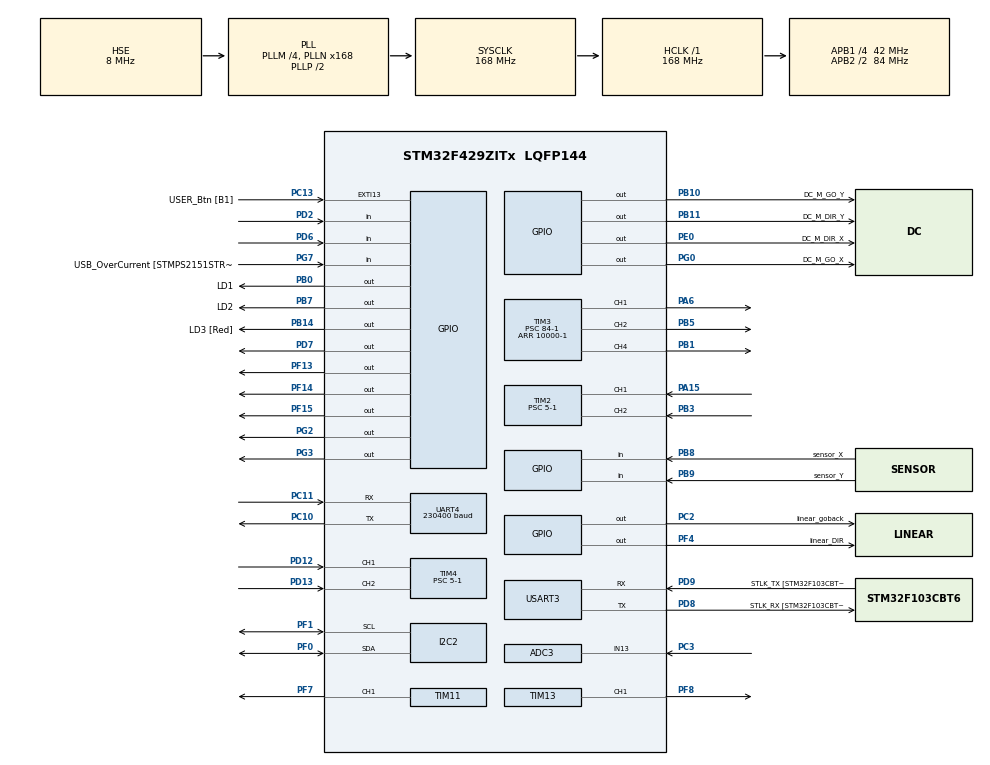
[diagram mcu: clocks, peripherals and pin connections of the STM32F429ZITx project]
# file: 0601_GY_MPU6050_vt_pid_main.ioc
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ADC3.Channel-3\#ChannelRegularConversion=ADC_CHANNEL_13
ADC3.Channel-4\#ChannelRegularConversion=ADC_CHANNEL_10
ADC3.Channel-5\#ChannelRegularConversion=ADC_CHANNEL_11
ADC3.ContinuousConvMode=DISABLE
ADC3.DMAContinuousRequests=ENABLE
ADC3.DiscontinuousConvMode=ENABLE
ADC3.ExternalTrigConv=ADC_EXTERNALTRIGCONV_T8_TRGO
ADC3.NbrOfConversion=3
ADC3.NbrOfConversionFlag=1
ADC3.NbrOfDiscConversion=3
ADC3.Rank-3\#ChannelRegularConversion=1
ADC3.Rank-4\#ChannelRegularConversion=2
ADC3.Rank-5\#ChannelRegularConversion=3
ADC3.Resolution=ADC_RESOLUTION_12B
ADC3.SamplingTime-3\#ChannelRegularConversion=ADC_SAMPLETIME_480CYCLES
ADC3.SamplingTime-4\#ChannelRegularConversion=ADC_SAMPLETIME_480CYCLES
ADC3.SamplingTime-5\#ChannelRegularConversion=ADC_SAMPLETIME_480CYCLES
ADC3.ScanConvMode=ENABLE
Dma.ADC3.0.Direction=DMA_PERIPH_TO_MEMORY
Dma.ADC3.0.FIFOMode=DMA_FIFOMODE_DISABLE
Dma.ADC3.0.Instance=DMA2_Stream1
Dma.ADC3.0.MemDataAlignment=DMA_MDATAALIGN_HALFWORD
Dma.ADC3.0.MemInc=DMA_MINC_ENABLE
Dma.ADC3.0.Mode=DMA_CIRCULAR
Dma.ADC3.0.PeriphDataAlignment=DMA_PDATAALIGN_HALFWORD
Dma.ADC3.0.PeriphInc=DMA_PINC_DISABLE
Dma.ADC3.0.Priority=DMA_PRIORITY_LOW
Dma.Request0=ADC3
Mcu.Family=STM32F4
Mcu.Name=STM32F429ZITx
Mcu.Package=LQFP144
NVIC.ADC_IRQn=true\:14\:0\:true\:false\:true\:true\:true\:true
NVIC.DMA2_Stream1_IRQn=true\:0\:0\:false\:false\:true\:false\:true\:true
NVIC.PriorityGroup=NVIC_PRIORITYGROUP_4
NVIC.TIM1_TRG_COM_TIM11_IRQn=true\:0\:0\:true\:false\:true\:true\:true\:true
NVIC.TIM4_IRQn=true\:0\:0\:true\:false\:true\:true\:true\:true
NVIC.TIM5_IRQn=true\:0\:0\:false\:false\:true\:true\:true\:true
NVIC.TIM6_DAC_IRQn=true\:0\:0\:true\:false\:true\:true\:true\:true
NVIC.TIM7_IRQn=true\:0\:0\:true\:false\:true\:true\:true\:true
NVIC.TIM8_TRG_COM_TIM14_IRQn=true\:0\:0\:true\:false\:true\:true\:true\:true
NVIC.TIM8_UP_TIM13_IRQn=true\:0\:0\:true\:false\:true\:true\:true\:true
NVIC.UART4_IRQn=true\:15\:0\:true\:false\:true\:true\:true\:true
NVIC.USART3_IRQn=true\:15\:0\:true\:false\:true\:true\:true\:true
PA1.GPIO_Speed=GPIO_SPEED_FREQ_VERY_HIGH
PA1.Signal=S_TIM5_CH2
PA11.GPIO_Label=USB_DM
PA11.Signal=USB_OTG_FS_DM
PA12.GPIO_Label=USB_DP
PA12.Signal=USB_OTG_FS_DP
PA13.GPIO_Label=TMS
PA13.Mode=Serial_Wire
PA13.Signal=SYS_JTMS-SWDIO
PA14.GPIO_Label=TCK
PA14.Mode=Serial_Wire
PA14.Signal=SYS_JTCK-SWCLK
PA15.GPIO_Speed=GPIO_SPEED_FREQ_VERY_HIGH
PA15.Signal=S_TIM2_CH1_ETR
PA6.GPIO_Speed=GPIO_SPEED_FREQ_VERY_HIGH
PA6.Signal=S_TIM3_CH1
PA8.GPIO_Label=USB_SOF [TP1]
PA8.Signal=USB_OTG_FS_SOF
PA9.GPIO_Label=USB_VBUS
PA9.Signal=USB_OTG_FS_VBUS
PB0.GPIO_Label=LD1
PB0.Signal=GPIO_Output
PB1.GPIO_Speed=GPIO_SPEED_FREQ_VERY_HIGH
PB1.Signal=S_TIM3_CH4
PB10.GPIO_Label=DC_M_GO_Y
PB10.GPIO_Speed=GPIO_SPEED_FREQ_LOW
PB10.Signal=GPIO_Output
PB11.GPIO_Label=DC_M_DIR_Y
PB11.GPIO_Speed=GPIO_SPEED_FREQ_LOW
PB11.Signal=GPIO_Output
PB14.GPIO_Label=LD3 [Red]
PB14.Signal=GPIO_Output
PB3.GPIO_Speed=GPIO_SPEED_FREQ_VERY_HIGH
PB3.Signal=S_TIM2_CH2
PB5.GPIO_Speed=GPIO_SPEED_FREQ_VERY_HIGH
PB5.Signal=S_TIM3_CH2
PB7.GPIO_Label=LD2
PB7.Signal=GPIO_Output
PB8.GPIO_Label=sensor_X
PB8.Signal=GPIO_Input
PB9.GPIO_Label=sensor_Y
PB9.Signal=GPIO_Input
PC10.Mode=Asynchronous
PC10.Signal=UART4_TX
PC11.Mode=Asynchronous
PC11.Signal=UART4_RX
PC13.GPIO_Label=USER_Btn [B1]
PC13.Signal=GPXTI13
PC14/OSC32_IN.Mode=LSE-External-Oscillator
PC14/OSC32_IN.Signal=RCC_OSC32_IN
PC15/OSC32_OUT.Mode=LSE-External-Oscillator
PC15/OSC32_OUT.Signal=RCC_OSC32_OUT
PC2.GPIO_Label=linear_goback
PC2.Signal=GPIO_Output
PC3.Signal=ADCx_IN13
PC8.Signal=S_TIM3_CH3
PD12.GPIO_Speed=GPIO_SPEED_FREQ_VERY_HIGH
PD12.Signal=S_TIM4_CH1
PD13.GPIO_Speed=GPIO_SPEED_FREQ_VERY_HIGH
PD13.Signal=S_TIM4_CH2
PD2.Signal=GPIO_Input
PD6.Signal=GPIO_Input
PD7.Signal=GPIO_Output
PD8.GPIO_Label=STLK_RX [STM32F103CBT6_PA3]
PD8.Mode=Asynchronous
PD8.Signal=USART3_TX
PD9.GPIO_Label=STLK_TX [STM32F103CBT6_PA2]
PD9.Mode=Asynchronous
PD9.Signal=USART3_RX
PE0.GPIO_Label=DC_M_DIR_X
PE0.GPIO_Speed=GPIO_SPEED_FREQ_LOW
PE0.Signal=GPIO_Output
PF0.Mode=I2C
PF0.Signal=I2C2_SDA
PF1.Mode=I2C
PF1.Signal=I2C2_SCL
PF13.Signal=GPIO_Output
PF14.Signal=GPIO_Output
PF15.Signal=GPIO_Output
PF4.GPIO_Label=linear_DIR
PF4.Signal=GPIO_Output
PF7.GPIO_Speed=GPIO_SPEED_FREQ_VERY_HIGH
PF7.Signal=S_TIM11_CH1
PF8.GPIO_Speed=GPIO_SPEED_FREQ_VERY_HIGH
PF8.Signal=S_TIM13_CH1
PG0.GPIO_Label=DC_M_GO_X
PG0.GPIO_Speed=GPIO_SPEED_FREQ_LOW
PG0.Signal=GPIO_Output
PG2.Signal=GPIO_Output
PG3.Signal=GPIO_Output
PG7.GPIO_Label=USB_OverCurrent [STMPS2151STR_FAULT]
PG7.Signal=GPIO_Input
PH0/OSC_IN.GPIO_Label=MCO [STM32F103CBT6_PA8]
PH0/OSC_IN.Mode=HSE-External-Clock-Source
PH0/OSC_IN.Signal=RCC_OSC_IN
PH1/OSC_OUT.Mode=HSE-External-Clock-Source
PH1/OSC_OUT.Signal=RCC_OSC_OUT
ProjectManager.HeapSize=0x200
ProjectManager.StackSize=0x400
ProjectManager.TargetToolchain=STM32CubeIDE
RCC.48MHZClocksFreq_Value=48000000
RCC.AHBFreq_Value=168000000
RCC.APB1CLKDivider=RCC_HCLK_DIV4
RCC.APB1Freq_Value=42000000
RCC.APB1TimFreq_Value=84000000
RCC.APB2CLKDivider=RCC_HCLK_DIV2
RCC.APB2Freq_Value=84000000
RCC.APB2TimCLKDivider=2
RCC.APB2TimFreq_Value=168000000
RCC.CortexFreq_Value=168000000
RCC.HCLKFreq_Value=168000000
RCC.HSE_VALUE=8000000
RCC.HSI_VALUE=16000000
RCC.PLLM=4
RCC.PLLMUL=RCC_PLL_MUL9
RCC.PLLN=168
RCC.PLLQ=7
RCC.PLLSourceVirtual=RCC_PLLSOURCE_HSE
RCC.PRESCALERUSB=RCC_USBCLKSOURCE_PLL_DIV1_5
RCC.SYSCLKFreq_VALUE=168000000
RCC.SYSCLKSource=RCC_SYSCLKSOURCE_PLLCLK
RCC.SYSCLKSourceVirtual=RCC_SYSCLKSOURCE_PLLCLK
RCC.USBFreq_Value=48000000
RCC.VCOOutputFreq_Value=336000000
SH.ADCx_IN13.0=ADC3_IN13,IN13
SH.S_TIM11_CH1.0=TIM11_CH1,Output Compare1 CH1
SH.S_TIM13_CH1.0=TIM13_CH1,Output Compare1 CH1
SH.S_TIM2_CH1_ETR.0=TIM2_CH1,Encoder_Interface
SH.S_TIM2_CH2.0=TIM2_CH2,Encoder_Interface
SH.S_TIM3_CH1.0=TIM3_CH1,PWM Generation1 CH1
SH.S_TIM3_CH2.0=TIM3_CH2,PWM Generation2 CH2
SH.S_TIM3_CH3.0=TIM3_CH3
SH.S_TIM3_CH4.0=TIM3_CH4,PWM Generation4 CH4
SH.S_TIM4_CH1.0=TIM4_CH1,Encoder_Interface
SH.S_TIM4_CH2.0=TIM4_CH2,Encoder_Interface
SH.S_TIM5_CH2.0=TIM5_CH2
TIM11.AutoReloadPreload=TIM_AUTORELOAD_PRELOAD_ENABLE
TIM11.Channel=TIM_CHANNEL_1
TIM11.OCMode_1=TIM_OCMODE_TOGGLE
TIM11.Period=800-1
TIM11.Prescaler=168-1
TIM11.Pulse=50
TIM12.Prescaler=42-1
TIM13.AutoReloadPreload=TIM_AUTORELOAD_PRELOAD_ENABLE
TIM13.Channel=TIM_CHANNEL_1
TIM13.OC1Preload=ENABLE
TIM13.OCMode_1=TIM_OCMODE_TOGGLE
TIM13.Period=800-1
TIM13.Prescaler=84-1
TIM13.Pulse=130
TIM14.Period=10000-1
TIM14.Prescaler=84-1
TIM2.EncoderMode=TIM_ENCODERMODE_TI12
TIM2.Period=0xffffffff
TIM2.Prescaler=5-1
TIM3.Channel-PWM\ Generation1\ CH1=TIM_CHANNEL_1
TIM3.Channel-PWM\ Generation2\ CH2=TIM_CHANNEL_2
TIM3.Channel-PWM\ Generation4\ CH4=TIM_CHANNEL_4
TIM3.Period=10000-1
TIM3.Prescaler=84-1
TIM3.Pulse-PWM\ Generation1\ CH1=600
TIM3.Pulse-PWM\ Generation2\ CH2=600
TIM3.Pulse-PWM\ Generation4\ CH4=0
TIM4.EncoderMode=TIM_ENCODERMODE_TI12
TIM4.Period=0xFFFF-1
TIM4.Prescaler=5-1
TIM5.Period=10000-1
TIM5.Prescaler=84-1
TIM6.Period=1000-1
TIM6.Prescaler=84-1
TIM7.Period=100-1
TIM7.Prescaler=84-1
TIM8.Channel-Output\ Compare4\ No\ Output=TIM_CHANNEL_4
TIM8.Period=300-1
TIM8.Prescaler=84-1
TIM8.Pulse-Output\ Compare4\ No\ Output=2000
TIM8.TIM_MasterOutputTrigger=TIM_TRGO_UPDATE
UART4.BaudRate=230400
UART4.Parity=PARITY_EVEN
UART4.VirtualMode=Asynchronous
USART3.VirtualMode=VM_ASYNC
VP_TIM11_VS_ClockSourceINT.Mode=Enable_Timer
VP_TIM12_VS_ClockSourceINT.Mode=Internal
VP_TIM13_VS_ClockSourceINT.Mode=Enable_Timer
VP_TIM14_VS_ClockSourceINT.Mode=Enable_Timer
VP_TIM3_VS_ClockSourceINT.Mode=Internal
VP_TIM5_VS_ClockSourceINT.Mode=Internal
VP_TIM6_VS_ClockSourceINT.Mode=Enable_Timer
VP_TIM7_VS_ClockSourceINT.Mode=Enable_Timer
VP_TIM8_VS_ClockSourceINT.Mode=Internal
VP_TIM8_VS_no_output4.Mode=Output Compare4 No Output
board=NUCLEO-F429ZI

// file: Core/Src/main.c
/* USER CODE BEGIN Header */
/**
 ******************************************************************************
 * @file           : main.c
 * @brief          : Main program body
 ******************************************************************************
 * @attention
 *
 * Copyright (c) 2024 STMicroelectronics.
 * All rights reserved.
 *
 * This software is licensed under terms that can be found in the LICENSE file
 * in the root directory of this software component.
 * If no LICENSE file comes with this software, it is provided AS-IS.
 *
 ******************************************************************************
 */
/* USER CODE END Header */
#include "main.h"

/* USER CODE BEGIN Includes */
#include "pid.h"
#include "sensor.h"
#include "step.h"
#include "linear.h"
#include "pp.h"
#include "mpu6050.h"

uint8_t key_value;

uint8_t data;

uint32_t encoder_count_x = 1000000;
uint32_t encoder_count_y = 1000000;
extern uint32_t tim4_encoder_overflow;

uint16_t ADC3_value[3];

extern uint8_t tim7_flag_3;
extern uint8_t tim6_flag;
extern uint8_t tim14_flag;
extern uint8_t tim5_flag;
/* USER CODE END Includes */

ADC_HandleTypeDef hadc3;
DMA_HandleTypeDef hdma_adc3;

I2C_HandleTypeDef hi2c2;

TIM_HandleTypeDef htim2;
TIM_HandleTypeDef htim3;
TIM_HandleTypeDef htim4;
TIM_HandleTypeDef htim5;
TIM_HandleTypeDef htim6;
TIM_HandleTypeDef htim7;
TIM_HandleTypeDef htim8;
TIM_HandleTypeDef htim11;
TIM_HandleTypeDef htim12;
TIM_HandleTypeDef htim13;
TIM_HandleTypeDef htim14;

UART_HandleTypeDef huart4;
UART_HandleTypeDef huart3;

void SystemClock_Config(void);
static void MX_GPIO_Init(void);
static void MX_DMA_Init(void);
static void MX_USART3_UART_Init(void);
static void MX_TIM3_Init(void);
static void MX_TIM14_Init(void);
static void MX_UART4_Init(void);
static void MX_TIM2_Init(void);
static void MX_TIM8_Init(void);
static void MX_TIM6_Init(void);
static void MX_TIM13_Init(void);
static void MX_ADC3_Init(void);
static void MX_TIM12_Init(void);
static void MX_TIM11_Init(void);
static void MX_TIM4_Init(void);
static void MX_TIM7_Init(void);
static void MX_TIM5_Init(void);
static void MX_I2C2_Init(void);

/* USER CODE BEGIN 0 */

extern int pathLength;

cell path[CELL_DOMAIN_MAX];

extern uint32_t save_X_IN;

extern int photo_sensor_flag_y;
extern float maxV;
extern float fallingN;
extern float fallingN_;
extern float raisingN;
extern float staticN;
extern float orderN;
extern uint16_t i_v_t_count;

/* USER CODE END 0 */

int main(void) {

	/* MCU Configuration--------------------------------------------------------*/

	/* Reset of all peripherals, Initializes the Flash interface and the Systick. */
	HAL_Init();

	/* Configure the system clock */
	SystemClock_Config();

	/* Initialize all configured peripherals */
	MX_GPIO_Init();
	MX_DMA_Init();
	MX_USART3_UART_Init();
	MX_TIM3_Init();
	MX_TIM14_Init();
	MX_UART4_Init();
	MX_TIM2_Init();
	MX_TIM8_Init();
	MX_TIM6_Init();
	MX_TIM13_Init();
	MX_ADC3_Init();
	MX_TIM12_Init();
	MX_TIM11_Init();
	MX_TIM4_Init();
	MX_TIM7_Init();
	MX_TIM5_Init();
	MX_I2C2_Init();
	/* USER CODE BEGIN 2 */

	MPU6050_Init();

	HAL_UART_Receive_IT(&huart3, &key_value, 1);
	HAL_UART_Receive_IT(&huart4, &data, 1);

	HAL_ADC_Start_DMA(&hadc3, (uint32_t*) ADC3_value, 3);

	HAL_TIM_Base_Start_IT(&htim6);  //pid
	HAL_TIM_Base_Start_IT(&htim7);  //센서
	HAL_TIM_Base_Start_IT(&htim14);  //RPM
	HAL_TIM_Base_Start_IT(&htim5);  //vt

	HAL_TIM_Encoder_Start(&htim2, TIM_CHANNEL_ALL);

	HAL_TIM_Encoder_Start(&htim4, TIM_CHANNEL_ALL);
	HAL_TIM_Base_Start_IT(&htim4);

	HAL_TIM_Base_Start(&htim12);  //초음파 센서
	HAL_TIM_Base_Start_IT(&htim8);  //ADC 타이머

	HAL_TIM_PWM_Start(&htim3, TIM_CHANNEL_1);
	HAL_TIM_PWM_Start(&htim3, TIM_CHANNEL_2);
	HAL_TIM_PWM_Start(&htim3, TIM_CHANNEL_4);
	setvbuf(stdin, NULL, _IONBF, 0);

	gridInit(IsEmpty);
	setDpp(0, 0, 5, 5); //0,0 에서 1,2로
	readPath(lpp(), path);

	/* USER CODE END 2 */

	/* Infinite loop */
	while (1) {

		/* USER CODE BEGIN 3 */

		encoder_count_x = TIM2->CNT;  //32bit timer
		encoder_count_y = TIM4->CNT + tim4_encoder_overflow; //16bit timer 에서 32비트로

//		printf("%d %d\r\n",save_X_IN,encoder_count_x);

		if (tim6_flag == 1)  //1ms
		{
			distance_sensor();  //거리 센서
			MPU6050_Read_Accel();
												MPU6050_Read_Gyro();
						tim7_flag_3 = 0;
			tim6_flag = 0;
		}

	}
	/* USER CODE END 3 */
}

void SystemClock_Config(void) {
	RCC_OscInitTypeDef RCC_OscInitStruct = { 0 };
	RCC_ClkInitTypeDef RCC_ClkInitStruct = { 0 };

	/** Configure the main internal regulator output voltage
	 */
	__HAL_RCC_PWR_CLK_ENABLE();
	__HAL_PWR_VOLTAGESCALING_CONFIG(PWR_REGULATOR_VOLTAGE_SCALE1);

	/** Initializes the RCC Oscillators according to the specified parameters
	 * in the RCC_OscInitTypeDef structure.
	 */
	RCC_OscInitStruct.OscillatorType = RCC_OSCILLATORTYPE_HSE;
	RCC_OscInitStruct.HSEState = RCC_HSE_BYPASS;
	RCC_OscInitStruct.PLL.PLLState = RCC_PLL_ON;
	RCC_OscInitStruct.PLL.PLLSource = RCC_PLLSOURCE_HSE;
	RCC_OscInitStruct.PLL.PLLM = 4;
	RCC_OscInitStruct.PLL.PLLN = 168;
	RCC_OscInitStruct.PLL.PLLP = RCC_PLLP_DIV2;
	RCC_OscInitStruct.PLL.PLLQ = 7;
	if (HAL_RCC_OscConfig(&RCC_OscInitStruct) != HAL_OK) {
		Error_Handler();
	}

	/** Initializes the CPU, AHB and APB buses clocks
	 */
	RCC_ClkInitStruct.ClockType = RCC_CLOCKTYPE_HCLK | RCC_CLOCKTYPE_SYSCLK
			| RCC_CLOCKTYPE_PCLK1 | RCC_CLOCKTYPE_PCLK2;
	RCC_ClkInitStruct.SYSCLKSource = RCC_SYSCLKSOURCE_PLLCLK;
	RCC_ClkInitStruct.AHBCLKDivider = RCC_SYSCLK_DIV1;
	RCC_ClkInitStruct.APB1CLKDivider = RCC_HCLK_DIV4;
	RCC_ClkInitStruct.APB2CLKDivider = RCC_HCLK_DIV2;

	if (HAL_RCC_ClockConfig(&RCC_ClkInitStruct, FLASH_LATENCY_5) != HAL_OK) {
		Error_Handler();
	}
}

static void MX_ADC3_Init(void) {

	ADC_ChannelConfTypeDef sConfig = { 0 };

	/** Configure the global features of the ADC (Clock, Resolution, Data Alignment and number of conversion)
	 */
	hadc3.Instance = ADC3;
	hadc3.Init.ClockPrescaler = ADC_CLOCK_SYNC_PCLK_DIV4;
	hadc3.Init.Resolution = ADC_RESOLUTION_12B;
	hadc3.Init.ScanConvMode = ENABLE;
	hadc3.Init.ContinuousConvMode = DISABLE;
	hadc3.Init.DiscontinuousConvMode = ENABLE;
	hadc3.Init.NbrOfDiscConversion = 3;
	hadc3.Init.ExternalTrigConvEdge = ADC_EXTERNALTRIGCONVEDGE_RISING;
	hadc3.Init.ExternalTrigConv = ADC_EXTERNALTRIGCONV_T8_TRGO;
	hadc3.Init.DataAlign = ADC_DATAALIGN_RIGHT;
	hadc3.Init.NbrOfConversion = 3;
	hadc3.Init.DMAContinuousRequests = ENABLE;
	hadc3.Init.EOCSelection = ADC_EOC_SINGLE_CONV;
	if (HAL_ADC_Init(&hadc3) != HAL_OK) {
		Error_Handler();
	}

	/** Configure for the selected ADC regular channel its corresponding rank in the sequencer and its sample time.
	 */
	sConfig.Channel = ADC_CHANNEL_13;
	sConfig.Rank = 1;
	sConfig.SamplingTime = ADC_SAMPLETIME_480CYCLES;
	if (HAL_ADC_ConfigChannel(&hadc3, &sConfig) != HAL_OK) {
		Error_Handler();
	}

	/** Configure for the selected ADC regular channel its corresponding rank in the sequencer and its sample time.
	 */
	sConfig.Channel = ADC_CHANNEL_10;
	sConfig.Rank = 2;
	if (HAL_ADC_ConfigChannel(&hadc3, &sConfig) != HAL_OK) {
		Error_Handler();
	}

	/** Configure for the selected ADC regular channel its corresponding rank in the sequencer and its sample time.
	 */
	sConfig.Channel = ADC_CHANNEL_11;
	sConfig.Rank = 3;
	if (HAL_ADC_ConfigChannel(&hadc3, &sConfig) != HAL_OK) {
		Error_Handler();
	}

}

static void MX_I2C2_Init(void) {

	hi2c2.Instance = I2C2;
	hi2c2.Init.ClockSpeed = 100000;
	hi2c2.Init.DutyCycle = I2C_DUTYCYCLE_2;
	hi2c2.Init.OwnAddress1 = 0;
	hi2c2.Init.AddressingMode = I2C_ADDRESSINGMODE_7BIT;
	hi2c2.Init.DualAddressMode = I2C_DUALADDRESS_DISABLE;
	hi2c2.Init.OwnAddress2 = 0;
	hi2c2.Init.GeneralCallMode = I2C_GENERALCALL_DISABLE;
	hi2c2.Init.NoStretchMode = I2C_NOSTRETCH_DISABLE;
	if (HAL_I2C_Init(&hi2c2) != HAL_OK) {
		Error_Handler();
	}

	/** Configure Analogue filter
	 */
	if (HAL_I2CEx_ConfigAnalogFilter(&hi2c2, I2C_ANALOGFILTER_ENABLE)
			!= HAL_OK) {
		Error_Handler();
	}

	/** Configure Digital filter
	 */
	if (HAL_I2CEx_ConfigDigitalFilter(&hi2c2, 0) != HAL_OK) {
		Error_Handler();
	}

}

static void MX_TIM2_Init(void) {

	TIM_Encoder_InitTypeDef sConfig = { 0 };
	TIM_MasterConfigTypeDef sMasterConfig = { 0 };

	htim2.Instance = TIM2;
	htim2.Init.Prescaler = 5 - 1;
	htim2.Init.CounterMode = TIM_COUNTERMODE_UP;
	htim2.Init.Period = 0xffffffff;
	htim2.Init.ClockDivision = TIM_CLOCKDIVISION_DIV1;
	htim2.Init.AutoReloadPreload = TIM_AUTORELOAD_PRELOAD_DISABLE;
	sConfig.EncoderMode = TIM_ENCODERMODE_TI12;
	sConfig.IC1Polarity = TIM_ICPOLARITY_RISING;
	sConfig.IC1Selection = TIM_ICSELECTION_DIRECTTI;
	sConfig.IC1Prescaler = TIM_ICPSC_DIV1;
	sConfig.IC1Filter = 0;
	sConfig.IC2Polarity = TIM_ICPOLARITY_RISING;
	sConfig.IC2Selection = TIM_ICSELECTION_DIRECTTI;
	sConfig.IC2Prescaler = TIM_ICPSC_DIV1;
	sConfig.IC2Filter = 0;
	if (HAL_TIM_Encoder_Init(&htim2, &sConfig) != HAL_OK) {
		Error_Handler();
	}
	sMasterConfig.MasterOutputTrigger = TIM_TRGO_RESET;
	sMasterConfig.MasterSlaveMode = TIM_MASTERSLAVEMODE_DISABLE;
	if (HAL_TIMEx_MasterConfigSynchronization(&htim2, &sMasterConfig)
			!= HAL_OK) {
		Error_Handler();
	}

}

static void MX_TIM3_Init(void) {

	TIM_ClockConfigTypeDef sClockSourceConfig = { 0 };
	TIM_MasterConfigTypeDef sMasterConfig = { 0 };
	TIM_OC_InitTypeDef sConfigOC = { 0 };

	htim3.Instance = TIM3;
	htim3.Init.Prescaler = 84 - 1;
	htim3.Init.CounterMode = TIM_COUNTERMODE_UP;
	htim3.Init.Period = 10000 - 1;
	htim3.Init.ClockDivision = TIM_CLOCKDIVISION_DIV1;
	htim3.Init.AutoReloadPreload = TIM_AUTORELOAD_PRELOAD_DISABLE;
	if (HAL_TIM_Base_Init(&htim3) != HAL_OK) {
		Error_Handler();
	}
	sClockSourceConfig.ClockSource = TIM_CLOCKSOURCE_INTERNAL;
	if (HAL_TIM_ConfigClockSource(&htim3, &sClockSourceConfig) != HAL_OK) {
		Error_Handler();
	}
	if (HAL_TIM_PWM_Init(&htim3) != HAL_OK) {
		Error_Handler();
	}
	sMasterConfig.MasterOutputTrigger = TIM_TRGO_RESET;
	sMasterConfig.MasterSlaveMode = TIM_MASTERSLAVEMODE_DISABLE;
	if (HAL_TIMEx_MasterConfigSynchronization(&htim3, &sMasterConfig)
			!= HAL_OK) {
		Error_Handler();
	}
	sConfigOC.OCMode = TIM_OCMODE_PWM1;
	sConfigOC.Pulse = 600;
	sConfigOC.OCPolarity = TIM_OCPOLARITY_HIGH;
	sConfigOC.OCFastMode = TIM_OCFAST_DISABLE;
	if (HAL_TIM_PWM_ConfigChannel(&htim3, &sConfigOC, TIM_CHANNEL_1)
			!= HAL_OK) {
		Error_Handler();
	}
	if (HAL_TIM_PWM_ConfigChannel(&htim3, &sConfigOC, TIM_CHANNEL_2)
			!= HAL_OK) {
		Error_Handler();
	}
	sConfigOC.Pulse = 0;
	if (HAL_TIM_PWM_ConfigChannel(&htim3, &sConfigOC, TIM_CHANNEL_4)
			!= HAL_OK) {
		Error_Handler();
	}
	HAL_TIM_MspPostInit(&htim3);

}

static void MX_TIM4_Init(void) {

	TIM_Encoder_InitTypeDef sConfig = { 0 };
	TIM_MasterConfigTypeDef sMasterConfig = { 0 };

	htim4.Instance = TIM4;
	htim4.Init.Prescaler = 5 - 1;
	htim4.Init.CounterMode = TIM_COUNTERMODE_UP;
	htim4.Init.Period = 0xFFFF - 1;
	htim4.Init.ClockDivision = TIM_CLOCKDIVISION_DIV1;
	htim4.Init.AutoReloadPreload = TIM_AUTORELOAD_PRELOAD_DISABLE;
	sConfig.EncoderMode = TIM_ENCODERMODE_TI12;
	sConfig.IC1Polarity = TIM_ICPOLARITY_RISING;
	sConfig.IC1Selection = TIM_ICSELECTION_DIRECTTI;
	sConfig.IC1Prescaler = TIM_ICPSC_DIV1;
	sConfig.IC1Filter = 0;
	sConfig.IC2Polarity = TIM_ICPOLARITY_RISING;
	sConfig.IC2Selection = TIM_ICSELECTION_DIRECTTI;
	sConfig.IC2Prescaler = TIM_ICPSC_DIV1;
	sConfig.IC2Filter = 0;
	if (HAL_TIM_Encoder_Init(&htim4, &sConfig) != HAL_OK) {
		Error_Handler();
	}
	sMasterConfig.MasterOutputTrigger = TIM_TRGO_RESET;
	sMasterConfig.MasterSlaveMode = TIM_MASTERSLAVEMODE_DISABLE;
	if (HAL_TIMEx_MasterConfigSynchronization(&htim4, &sMasterConfig)
			!= HAL_OK) {
		Error_Handler();
	}

}

static void MX_TIM5_Init(void) {

	TIM_ClockConfigTypeDef sClockSourceConfig = { 0 };
	TIM_MasterConfigTypeDef sMasterConfig = { 0 };

	htim5.Instance = TIM5;
	htim5.Init.Prescaler = 84 - 1;
	htim5.Init.CounterMode = TIM_COUNTERMODE_UP;
	htim5.Init.Period = 10000 - 1;
	htim5.Init.ClockDivision = TIM_CLOCKDIVISION_DIV1;
	htim5.Init.AutoReloadPreload = TIM_AUTORELOAD_PRELOAD_DISABLE;
	if (HAL_TIM_Base_Init(&htim5) != HAL_OK) {
		Error_Handler();
	}
	sClockSourceConfig.ClockSource = TIM_CLOCKSOURCE_INTERNAL;
	if (HAL_TIM_ConfigClockSource(&htim5, &sClockSourceConfig) != HAL_OK) {
		Error_Handler();
	}
	sMasterConfig.MasterOutputTrigger = TIM_TRGO_RESET;
	sMasterConfig.MasterSlaveMode = TIM_MASTERSLAVEMODE_DISABLE;
	if (HAL_TIMEx_MasterConfigSynchronization(&htim5, &sMasterConfig)
			!= HAL_OK) {
		Error_Handler();
	}

}

static void MX_TIM6_Init(void) {

	/* USER CODE BEGIN TIM6_Init 0 */
	//0.001s = 1ms
	//PID 샘플링 주기
	/* USER CODE END TIM6_Init 0 */

	TIM_MasterConfigTypeDef sMasterConfig = { 0 };

	htim6.Instance = TIM6;
	htim6.Init.Prescaler = 84 - 1;
	htim6.Init.CounterMode = TIM_COUNTERMODE_UP;
	htim6.Init.Period = 1000 - 1;
	htim6.Init.AutoReloadPreload = TIM_AUTORELOAD_PRELOAD_DISABLE;
	if (HAL_TIM_Base_Init(&htim6) != HAL_OK) {
		Error_Handler();
	}
	sMasterConfig.MasterOutputTrigger = TIM_TRGO_RESET;
	sMasterConfig.MasterSlaveMode = TIM_MASTERSLAVEMODE_DISABLE;
	if (HAL_TIMEx_MasterConfigSynchronization(&htim6, &sMasterConfig)
			!= HAL_OK) {
		Error_Handler();
	}

}

static void MX_TIM7_Init(void) {

	TIM_MasterConfigTypeDef sMasterConfig = { 0 };

	htim7.Instance = TIM7;
	htim7.Init.Prescaler = 84 - 1;
	htim7.Init.CounterMode = TIM_COUNTERMODE_UP;
	htim7.Init.Period = 100 - 1;
	htim7.Init.AutoReloadPreload = TIM_AUTORELOAD_PRELOAD_DISABLE;
	if (HAL_TIM_Base_Init(&htim7) != HAL_OK) {
		Error_Handler();
	}
	sMasterConfig.MasterOutputTrigger = TIM_TRGO_RESET;
	sMasterConfig.MasterSlaveMode = TIM_MASTERSLAVEMODE_DISABLE;
	if (HAL_TIMEx_MasterConfigSynchronization(&htim7, &sMasterConfig)
			!= HAL_OK) {
		Error_Handler();
	}

}

static void MX_TIM8_Init(void) {

	/* USER CODE BEGIN TIM8_Init 0 */
	//ADC 측정 타이머 , 나중엔 필요 x
	/* USER CODE END TIM8_Init 0 */

	TIM_ClockConfigTypeDef sClockSourceConfig = { 0 };
	TIM_MasterConfigTypeDef sMasterConfig = { 0 };
	TIM_OC_InitTypeDef sConfigOC = { 0 };
	TIM_BreakDeadTimeConfigTypeDef sBreakDeadTimeConfig = { 0 };

	htim8.Instance = TIM8;
	htim8.Init.Prescaler = 84 - 1;
	htim8.Init.CounterMode = TIM_COUNTERMODE_UP;
	htim8.Init.Period = 300 - 1;
	htim8.Init.ClockDivision = TIM_CLOCKDIVISION_DIV1;
	htim8.Init.RepetitionCounter = 0;
	htim8.Init.AutoReloadPreload = TIM_AUTORELOAD_PRELOAD_DISABLE;
	if (HAL_TIM_Base_Init(&htim8) != HAL_OK) {
		Error_Handler();
	}
	sClockSourceConfig.ClockSource = TIM_CLOCKSOURCE_INTERNAL;
	if (HAL_TIM_ConfigClockSource(&htim8, &sClockSourceConfig) != HAL_OK) {
		Error_Handler();
	}
	if (HAL_TIM_OC_Init(&htim8) != HAL_OK) {
		Error_Handler();
	}
	sMasterConfig.MasterOutputTrigger = TIM_TRGO_UPDATE;
	sMasterConfig.MasterSlaveMode = TIM_MASTERSLAVEMODE_DISABLE;
	if (HAL_TIMEx_MasterConfigSynchronization(&htim8, &sMasterConfig)
			!= HAL_OK) {
		Error_Handler();
	}
	sConfigOC.OCMode = TIM_OCMODE_TIMING;
	sConfigOC.Pulse = 2000;
	sConfigOC.OCPolarity = TIM_OCPOLARITY_HIGH;
	sConfigOC.OCFastMode = TIM_OCFAST_DISABLE;
	sConfigOC.OCIdleState = TIM_OCIDLESTATE_RESET;
	sConfigOC.OCNIdleState = TIM_OCNIDLESTATE_RESET;
	if (HAL_TIM_OC_ConfigChannel(&htim8, &sConfigOC, TIM_CHANNEL_4) != HAL_OK) {
		Error_Handler();
	}
	sBreakDeadTimeConfig.OffStateRunMode = TIM_OSSR_DISABLE;
	sBreakDeadTimeConfig.OffStateIDLEMode = TIM_OSSI_DISABLE;
	sBreakDeadTimeConfig.LockLevel = TIM_LOCKLEVEL_OFF;
	sBreakDeadTimeConfig.DeadTime = 0;
	sBreakDeadTimeConfig.BreakState = TIM_BREAK_DISABLE;
	sBreakDeadTimeConfig.BreakPolarity = TIM_BREAKPOLARITY_HIGH;
	sBreakDeadTimeConfig.AutomaticOutput = TIM_AUTOMATICOUTPUT_DISABLE;
	if (HAL_TIMEx_ConfigBreakDeadTime(&htim8, &sBreakDeadTimeConfig)
			!= HAL_OK) {
		Error_Handler();
	}

}

static void MX_TIM11_Init(void) {

	TIM_OC_InitTypeDef sConfigOC = { 0 };

	htim11.Instance = TIM11;
	htim11.Init.Prescaler = 168 - 1;
	htim11.Init.CounterMode = TIM_COUNTERMODE_UP;
	htim11.Init.Period = 800 - 1;
	htim11.Init.ClockDivision = TIM_CLOCKDIVISION_DIV1;
	htim11.Init.AutoReloadPreload = TIM_AUTORELOAD_PRELOAD_ENABLE;
	if (HAL_TIM_Base_Init(&htim11) != HAL_OK) {
		Error_Handler();
	}
	if (HAL_TIM_OC_Init(&htim11) != HAL_OK) {
		Error_Handler();
	}
	sConfigOC.OCMode = TIM_OCMODE_TOGGLE;
	sConfigOC.Pulse = 50;
	sConfigOC.OCPolarity = TIM_OCPOLARITY_HIGH;
	sConfigOC.OCFastMode = TIM_OCFAST_DISABLE;
	if (HAL_TIM_OC_ConfigChannel(&htim11, &sConfigOC, TIM_CHANNEL_1)
			!= HAL_OK) {
		Error_Handler();
	}
	HAL_TIM_MspPostInit(&htim11);

}

static void MX_TIM12_Init(void) {

	/* USER CODE BEGIN TIM12_Init 0 */
	// 초음파 센서
	/* USER CODE END TIM12_Init 0 */

	TIM_ClockConfigTypeDef sClockSourceConfig = { 0 };

	htim12.Instance = TIM12;
	htim12.Init.Prescaler = 42 - 1;
	htim12.Init.CounterMode = TIM_COUNTERMODE_UP;
	htim12.Init.Period = 65535;
	htim12.Init.ClockDivision = TIM_CLOCKDIVISION_DIV1;
	htim12.Init.AutoReloadPreload = TIM_AUTORELOAD_PRELOAD_DISABLE;
	if (HAL_TIM_Base_Init(&htim12) != HAL_OK) {
		Error_Handler();
	}
	sClockSourceConfig.ClockSource = TIM_CLOCKSOURCE_INTERNAL;
	if (HAL_TIM_ConfigClockSource(&htim12, &sClockSourceConfig) != HAL_OK) {
		Error_Handler();
	}

}

static void MX_TIM13_Init(void) {

	/* USER CODE BEGIN TIM13_Init 0 */
// 테스트 용
	/* USER CODE END TIM13_Init 0 */

	TIM_OC_InitTypeDef sConfigOC = { 0 };

	htim13.Instance = TIM13;
	htim13.Init.Prescaler = 84 - 1;
	htim13.Init.CounterMode = TIM_COUNTERMODE_UP;
	htim13.Init.Period = 800 - 1;
	htim13.Init.ClockDivision = TIM_CLOCKDIVISION_DIV1;
	htim13.Init.AutoReloadPreload = TIM_AUTORELOAD_PRELOAD_ENABLE;
	if (HAL_TIM_Base_Init(&htim13) != HAL_OK) {
		Error_Handler();
	}
	if (HAL_TIM_OC_Init(&htim13) != HAL_OK) {
		Error_Handler();
	}
	sConfigOC.OCMode = TIM_OCMODE_TOGGLE;
	sConfigOC.Pulse = 130;
	sConfigOC.OCPolarity = TIM_OCPOLARITY_HIGH;
	sConfigOC.OCFastMode = TIM_OCFAST_DISABLE;
	if (HAL_TIM_OC_ConfigChannel(&htim13, &sConfigOC, TIM_CHANNEL_1)
			!= HAL_OK) {
		Error_Handler();
	}
	__HAL_TIM_ENABLE_OCxPRELOAD(&htim13, TIM_CHANNEL_1);
	/* USER CODE BEGIN TIM13_Init 2 */
	//HAL_TIM_MspPostInit(&htim13);
	/* USER CODE END TIM13_Init 2 */
	HAL_TIM_MspPostInit(&htim13);

}

static void MX_TIM14_Init(void) {

	/* USER CODE BEGIN TIM14_Init 0 */
//RPM 측정
	/* USER CODE END TIM14_Init 0 */

	htim14.Instance = TIM14;
	htim14.Init.Prescaler = 84 - 1;
	htim14.Init.CounterMode = TIM_COUNTERMODE_UP;
	htim14.Init.Period = 10000 - 1;
	htim14.Init.ClockDivision = TIM_CLOCKDIVISION_DIV1;
	htim14.Init.AutoReloadPreload = TIM_AUTORELOAD_PRELOAD_DISABLE;
	if (HAL_TIM_Base_Init(&htim14) != HAL_OK) {
		Error_Handler();
	}
	/* USER CODE BEGIN TIM14_Init 2 */
//	TIM14->DIER |= (1 << 0);   // CC1IE: Enable the Tim14 UG interrupt
//	NVIC->ISER[1] |= (1 << (45 - 32)); // TIM14_CC
//	TIM14->CR1 |= (1 << 0);	// CEN: Counter TIM14 enable
	/* USER CODE END TIM14_Init 2 */

}

static void MX_UART4_Init(void) {

	huart4.Instance = UART4;
	huart4.Init.BaudRate = 230400;
	huart4.Init.WordLength = UART_WORDLENGTH_8B;
	huart4.Init.StopBits = UART_STOPBITS_1;
	huart4.Init.Parity = UART_PARITY_EVEN;
	huart4.Init.Mode = UART_MODE_TX_RX;
	huart4.Init.HwFlowCtl = UART_HWCONTROL_NONE;
	huart4.Init.OverSampling = UART_OVERSAMPLING_16;
	if (HAL_UART_Init(&huart4) != HAL_OK) {
		Error_Handler();
	}

}

static void MX_USART3_UART_Init(void) {

	huart3.Instance = USART3;
	huart3.Init.BaudRate = 115200;
	huart3.Init.WordLength = UART_WORDLENGTH_8B;
	huart3.Init.StopBits = UART_STOPBITS_1;
	huart3.Init.Parity = UART_PARITY_NONE;
	huart3.Init.Mode = UART_MODE_TX_RX;
	huart3.Init.HwFlowCtl = UART_HWCONTROL_NONE;
	huart3.Init.OverSampling = UART_OVERSAMPLING_16;
	if (HAL_UART_Init(&huart3) != HAL_OK) {
		Error_Handler();
	}

}

static void MX_DMA_Init(void) {

	/* DMA controller clock enable */
	__HAL_RCC_DMA2_CLK_ENABLE();

	/* DMA interrupt init */
	/* DMA2_Stream1_IRQn interrupt configuration */
	HAL_NVIC_SetPriority(DMA2_Stream1_IRQn, 0, 0);
	HAL_NVIC_EnableIRQ(DMA2_Stream1_IRQn);

}

static void MX_GPIO_Init(void) {
	GPIO_InitTypeDef GPIO_InitStruct = { 0 };

	/* GPIO Ports Clock Enable */
	__HAL_RCC_GPIOC_CLK_ENABLE();
	__HAL_RCC_GPIOF_CLK_ENABLE();
	__HAL_RCC_GPIOH_CLK_ENABLE();
	__HAL_RCC_GPIOA_CLK_ENABLE();
	__HAL_RCC_GPIOB_CLK_ENABLE();
	__HAL_RCC_GPIOG_CLK_ENABLE();
	__HAL_RCC_GPIOD_CLK_ENABLE();
	__HAL_RCC_GPIOE_CLK_ENABLE();

	/*Configure GPIO pin Output Level */
	HAL_GPIO_WritePin(GPIOF,
			linear_DIR_Pin | GPIO_PIN_13 | GPIO_PIN_14 | GPIO_PIN_15,
			GPIO_PIN_RESET);

	/*Configure GPIO pin Output Level */
	HAL_GPIO_WritePin(linear_goback_GPIO_Port, linear_goback_Pin,
			GPIO_PIN_RESET);

	/*Configure GPIO pin Output Level */
	HAL_GPIO_WritePin(GPIOB,
			LD1_Pin | DC_M_GO_Y_Pin | DC_M_DIR_Y_Pin | LD3_Pin | LD2_Pin,
			GPIO_PIN_RESET);

	/*Configure GPIO pin Output Level */
	HAL_GPIO_WritePin(GPIOG, DC_M_GO_X_Pin | GPIO_PIN_2 | GPIO_PIN_3,
			GPIO_PIN_RESET);

	/*Configure GPIO pin Output Level */
	HAL_GPIO_WritePin(GPIOD, GPIO_PIN_7, GPIO_PIN_RESET);

	/*Configure GPIO pin Output Level */
	HAL_GPIO_WritePin(DC_M_DIR_X_GPIO_Port, DC_M_DIR_X_Pin, GPIO_PIN_RESET);

	/*Configure GPIO pin : USER_Btn_Pin */
	GPIO_InitStruct.Pin = USER_Btn_Pin;
	GPIO_InitStruct.Mode = GPIO_MODE_IT_RISING;
	GPIO_InitStruct.Pull = GPIO_NOPULL;
	HAL_GPIO_Init(USER_Btn_GPIO_Port, &GPIO_InitStruct);

	/*Configure GPIO pins : linear_DIR_Pin PF13 PF14 PF15 */
	GPIO_InitStruct.Pin = linear_DIR_Pin | GPIO_PIN_13 | GPIO_PIN_14
			| GPIO_PIN_15;
	GPIO_InitStruct.Mode = GPIO_MODE_OUTPUT_PP;
	GPIO_InitStruct.Pull = GPIO_NOPULL;
	GPIO_InitStruct.Speed = GPIO_SPEED_FREQ_LOW;
	HAL_GPIO_Init(GPIOF, &GPIO_InitStruct);

	/*Configure GPIO pin : linear_goback_Pin */
	GPIO_InitStruct.Pin = linear_goback_Pin;
	GPIO_InitStruct.Mode = GPIO_MODE_OUTPUT_PP;
	GPIO_InitStruct.Pull = GPIO_NOPULL;
	GPIO_InitStruct.Speed = GPIO_SPEED_FREQ_LOW;
	HAL_GPIO_Init(linear_goback_GPIO_Port, &GPIO_InitStruct);

	/*Configure GPIO pins : LD1_Pin DC_M_GO_Y_Pin DC_M_DIR_Y_Pin LD3_Pin
	 LD2_Pin */
	GPIO_InitStruct.Pin = LD1_Pin | DC_M_GO_Y_Pin | DC_M_DIR_Y_Pin | LD3_Pin
			| LD2_Pin;
	GPIO_InitStruct.Mode = GPIO_MODE_OUTPUT_PP;
	GPIO_InitStruct.Pull = GPIO_NOPULL;
	GPIO_InitStruct.Speed = GPIO_SPEED_FREQ_LOW;
	HAL_GPIO_Init(GPIOB, &GPIO_InitStruct);

	/*Configure GPIO pins : DC_M_GO_X_Pin PG2 PG3 */
	GPIO_InitStruct.Pin = DC_M_GO_X_Pin | GPIO_PIN_2 | GPIO_PIN_3;
	GPIO_InitStruct.Mode = GPIO_MODE_OUTPUT_PP;
	GPIO_InitStruct.Pull = GPIO_NOPULL;
	GPIO_InitStruct.Speed = GPIO_SPEED_FREQ_LOW;
	HAL_GPIO_Init(GPIOG, &GPIO_InitStruct);

	/*Configure GPIO pin : USB_OverCurrent_Pin */
	GPIO_InitStruct.Pin = USB_OverCurrent_Pin;
	GPIO_InitStruct.Mode = GPIO_MODE_INPUT;
	GPIO_InitStruct.Pull = GPIO_NOPULL;
	HAL_GPIO_Init(USB_OverCurrent_GPIO_Port, &GPIO_InitStruct);

	/*Configure GPIO pins : USB_SOF_Pin USB_DM_Pin USB_DP_Pin */
	GPIO_InitStruct.Pin = USB_SOF_Pin | USB_DM_Pin | USB_DP_Pin;
	GPIO_InitStruct.Mode = GPIO_MODE_AF_PP;
	GPIO_InitStruct.Pull = GPIO_NOPULL;
	GPIO_InitStruct.Speed = GPIO_SPEED_FREQ_VERY_HIGH;
	GPIO_InitStruct.Alternate = GPIO_AF10_OTG_FS;
	HAL_GPIO_Init(GPIOA, &GPIO_InitStruct);

	/*Configure GPIO pin : USB_VBUS_Pin */
	GPIO_InitStruct.Pin = USB_VBUS_Pin;
	GPIO_InitStruct.Mode = GPIO_MODE_INPUT;
	GPIO_InitStruct.Pull = GPIO_NOPULL;
	HAL_GPIO_Init(USB_VBUS_GPIO_Port, &GPIO_InitStruct);

	/*Configure GPIO pins : PD2 PD6 */
	GPIO_InitStruct.Pin = GPIO_PIN_2 | GPIO_PIN_6;
	GPIO_InitStruct.Mode = GPIO_MODE_INPUT;
	GPIO_InitStruct.Pull = GPIO_NOPULL;
	HAL_GPIO_Init(GPIOD, &GPIO_InitStruct);

	/*Configure GPIO pin : PD7 */
	GPIO_InitStruct.Pin = GPIO_PIN_7;
	GPIO_InitStruct.Mode = GPIO_MODE_OUTPUT_PP;
	GPIO_InitStruct.Pull = GPIO_NOPULL;
	GPIO_InitStruct.Speed = GPIO_SPEED_FREQ_LOW;
	HAL_GPIO_Init(GPIOD, &GPIO_InitStruct);

	/*Configure GPIO pins : sensor_X_Pin sensor_Y_Pin */
	GPIO_InitStruct.Pin = sensor_X_Pin | sensor_Y_Pin;
	GPIO_InitStruct.Mode = GPIO_MODE_INPUT;
	GPIO_InitStruct.Pull = GPIO_NOPULL;
	HAL_GPIO_Init(GPIOB, &GPIO_InitStruct);

	/*Configure GPIO pin : DC_M_DIR_X_Pin */
	GPIO_InitStruct.Pin = DC_M_DIR_X_Pin;
	GPIO_InitStruct.Mode = GPIO_MODE_OUTPUT_PP;
	GPIO_InitStruct.Pull = GPIO_NOPULL;
	GPIO_InitStruct.Speed = GPIO_SPEED_FREQ_LOW;
	HAL_GPIO_Init(DC_M_DIR_X_GPIO_Port, &GPIO_InitStruct);

}

/* USER CODE BEGIN 4 */

float input_encodor_X_GO = 34000 * 1.3;
float input_encodor_X_BACK = -34000 * 1.3;

float input_encodor_Y_GO = 34000 * 2;
float input_encodor_Y_BACK = -34000 * 2;

float targetS_X_GO = 52;
float targetS_X_BACK = 52;

float targetS_Y_GO = 52;
float targetS_Y_BACK = 52;

int8_t RX_flag = 0;

float go_time = 1.18;
float back_time = 1.3;

PUTCHAR_PROTOTYPE  //테라텀
{
	HAL_UART_Transmit(&huart3, (uint8_t*) &ch, 1, HAL_MAX_DELAY);
	return ch;
}

void SerialSendChar_PC(uint8_t Ch1) // 1문자 보내기 함수
{
	// USART_SR_TXE(1<<7)=0?, TX Buffer NOT Empty?
	// TX buffer Empty되지 않으면 계속 대기(송신 가능한 상태까지 대기)
	while ((USART3->SR & 1 << 7) == RESET)
		;
	USART3->DR = (Ch1 & 0x01FF);	// 전송 (최대 9bit 이므로 0x01FF과 masking)
}

void SerialSendChar_ESP(uint8_t Ch2) // 1문자 보내기 함수
{
	while ((UART4->SR & 1 << 7) == RESET)
		;
	UART4->DR = (Ch2 & 0x01FF);
}

extern uint16_t ADC3_value[3];

extern float battery_V;
uint16_t RPM_uint16;
uint16_t battery_uint16;

extern float RPM_X;
uint8_t buffer[256];

void STM32_to_ESP(void)                    // ESP로 데이터 보냄
{

#define test 1
#if test ==1
//	GPIOB->ODR ^= 1 << 7;
	RPM_uint16 = RPM_X * 10;
	battery_uint16 = battery_V * 100;

	SerialSendChar_ESP('?');

	//테스트

	if (ADC3_value[0] >= 1000 && ADC3_value[0] <= 4095) {

		sprintf((char*) buffer, "%d\n\r", ADC3_value[0]);
		//		HAL_UART_Transmit(&huart3, buffer, strlen((char*) buffer), 100);
		sprintf((char*) buffer, "%d\n\r", ADC3_value[0]);
		//		HAL_UART_Transmit(&huart3, buffer, strlen((char*) buffer), 100);
		sprintf((char*) buffer, "%d\n\r", ADC3_value[0]);
		//	HAL_UART_Transmit(&huart3, buffer, strlen((char*) buffer), 100);

		//배터리, 속도 전송
		sprintf((char*) buffer, "%d", ADC3_value[0]);
		HAL_UART_Transmit(&huart4, buffer, strlen((char*) buffer), 100);
		sprintf((char*) buffer, "%d", ADC3_value[0]);
		HAL_UART_Transmit(&huart4, buffer, strlen((char*) buffer), 100);
		sprintf((char*) buffer, "%d", ADC3_value[0]);
		HAL_UART_Transmit(&huart4, buffer, strlen((char*) buffer), 100);
	}

#elif test == 2
		 GPIOB->ODR ^= 1 << 7;
		 RPM_uint16 = RPM_X * 10;
		 battery_uint16 = battery_V * 100;

		 SerialSendChar_ESP('?');
		 sprintf((char*) buffer, "%d", battery_uint16);
		 HAL_UART_Transmit(&huart4, buffer, strlen((char*) buffer), 100);
		 sprintf((char*) buffer, "%d", RPM_uint16);
		 HAL_UART_Transmit(&huart4, buffer, strlen((char*) buffer), 100);
		 sprintf((char*) buffer, "%d", battery_uint16);
		 HAL_UART_Transmit(&huart4, buffer, strlen((char*) buffer), 100);
		 #endif

}

//extern uint16_t shaft_step;
extern uint16_t shaft_pulse_cycle;

//extern uint16_t ball_screw_step;
extern uint16_t ball_screw_pulse_cycle;
uint16_t ball_step = 25;
uint32_t downpart_step = 25;
extern uint32_t step_pulse_count_tim13;
extern uint16_t step_pulse_count_tim11;

void UART3_RX_PC_to_STM32(void) // UART3: STM32 <-> PC
{

	HAL_UART_Receive_IT(&huart3, &key_value, 1);
	printf("%d,^^ %c \r\n", key_value, key_value);

	switch (key_value) {
	case 'q':
		HAL_GPIO_WritePin(GPIOE, GPIO_PIN_0, 0);  //방향 go

		GPIOB->ODR |= 1 << 0;  //LD1

		break;

	case 'w':

		HAL_GPIO_WritePin(GPIOE, GPIO_PIN_0, 1);  //방향 back
		GPIOB->ODR &= ~1 << 0;  //LD1

		break;

	case '1':
		HAL_GPIO_WritePin(GPIOG, GPIO_PIN_0, 1);  //stop

		break;

	case '2':
		HAL_GPIO_WritePin(GPIOG, GPIO_PIN_0, 0);  //start

		break;

	case '3':
		TIM3->CCR1 = 400;

		break;

	case '4':
		TIM3->CCR1 = 1700;

		break;

	case '5':
		TIM3->CCR1 = 6000;

		break;

		/////////////////////////////////////////////////////////////////y축 이동

	case 'd':
		HAL_GPIO_WritePin(GPIOB, GPIO_PIN_10, 0);  //y축 방향 go

		GPIOB->ODR |= 1 << 0;  //LD1

		break;

	case 'f':

		HAL_GPIO_WritePin(GPIOB, GPIO_PIN_10, 1);  //y축 방향 back
		GPIOB->ODR &= ~1 << 0;  //LD1

		break;

	case 'a':
		HAL_GPIO_WritePin(GPIOB, GPIO_PIN_11, 1);  //stop

		break;

	case 's':
		HAL_GPIO_WritePin(GPIOB, GPIO_PIN_11, 0);  //start

		break;

	case 'e':
		TIM3->CCR2 = 400;

		break;

	case 'r':
		TIM3->CCR2 = 1700;

		break;
	case 't':
		TIM3->CCR2 = 6000;

		break;
		///////////////////////////////////////////////////////////////// x축 바퀴 PID

	case 'i':

		dc_motor_pid_X(34000);

		break;

	case 'o':
		dc_motor_pid_X(-34000);

		break;

	case 'p':
		dc_motor_pid_X(input_encodor_X_GO);

		break;

	case '[':
		dc_motor_pid_X(input_encodor_X_BACK);

		break;
	case 'I':  //30cm

		v_t_graph_DIR_GO_X(30);  //앞으로 30cm

		break;
	case 'O':

		v_t_graph_DIR_BACK_X(30); //뒤로 30cm

		break;
	case 'P':

		v_t_graph_DIR_GO_X(targetS_X_GO);  //앞으로

		break;
	case '{':

		v_t_graph_DIR_BACK_X(targetS_X_BACK); //뒤로

		break;
		///////////////////////////////////////////////////////// y축  바퀴  PID

	case '8':

		dc_motor_pid_Y(34000);
		break;

	case '9':
		dc_motor_pid_Y(-34000);
		break;

	case '0':
		dc_motor_pid_Y(input_encodor_Y_GO);
		break;
	case '-':
		dc_motor_pid_Y(input_encodor_Y_BACK);
		break;
//////////////////////////////////////////////////////////Y  VT
	case '*':

		v_t_graph_DIR_GO_Y(30);   //Y축 vt 앞
		break;

	case '(':
		v_t_graph_DIR_BACK_Y(30);   //뒤
		break;

	case ')':
		v_t_graph_DIR_GO_Y(targetS_Y_GO);
		break;

	case '_':
		v_t_graph_DIR_BACK_Y(targetS_Y_BACK);
		break;

		//////////////////////////////////////////////////////z축 볼스크류 스텝모터
	case 'j':
		HAL_GPIO_WritePin(GPIOG, GPIO_PIN_2, 1);  //정지
		step_pulse_count_tim11 = 0;
		break;

	case 'k':
		HAL_GPIO_WritePin(GPIOG, GPIO_PIN_2, 0);  //출발

		break;

	case 'l':   //cw 미소 이동             시계방향  위쪽
		z_axis_UP(ball_step, ball_screw_pulse_cycle);

		break;
	case ';':    //ccw 미소 이동           반시계방향  아래쪽
		z_axis_DOWN(ball_step, ball_screw_pulse_cycle);

		break;

	case 'L':   //cw              시계방향  위쪽
		z_axis_UP(400 * 6, ball_screw_pulse_cycle);

		break;
	case ':':    //ccw            반시계방향  아래쪽

		z_axis_DOWN(400 * 6, ball_screw_pulse_cycle);

		break;

		/////////////////////////////////////////////////////////////////////다운파트 축 스텝모터
	case 'm':
		HAL_GPIO_WritePin(GPIOF, GPIO_PIN_13, 1);  //정지
		step_pulse_count_tim13 = 0;
		break;

	case ',':
		HAL_GPIO_WritePin(GPIOF, GPIO_PIN_13, 0);  //출발

		break;

	case 'M':  //가속
		down_part_UP_accel(downpart_step);

		break;
	case '<': //가속
		down_part_DOWN_accel(downpart_step);

		break;
	case '.':

		down_part_UP(downpart_step, shaft_pulse_cycle);

		break;

	case '/':

		down_part_DOWN(downpart_step, shaft_pulse_cycle);

		break;
	case '>':

		down_part_UP(400, shaft_pulse_cycle);

		break;

	case '?':

		down_part_DOWN(400, shaft_pulse_cycle);

		break;
//////////////////////////////////////////////////////////////////////////////////리니어 모터
	case 'z':

		HAL_GPIO_WritePin(GPIOF, GPIO_PIN_4, 1); //정지

		break;

	case 'x':

		HAL_GPIO_WritePin(GPIOF, GPIO_PIN_4, 0);  //출발

		break;
	case 'c':

		HAL_GPIO_WritePin(GPIOC, GPIO_PIN_2, 1);   //방향 후진

		break;

	case 'v':

		HAL_GPIO_WritePin(GPIOC, GPIO_PIN_2, 0);  //방향  전진

		break;

	case 'b': //방향  전진

		TIM3->CCR4 = 1500;

		break;
	case 'n': //방향  전진

		TIM3->CCR4 = 4200;

		break;
	case 'h': //방향  전진

		TIM3->CCR4 = 8000;

		break;

	case 'Z': //방향 초 전진

		linear_motor_GO(go_time);

		break;
	case 'X': //방향 초 전진

		linear_motor_BACK(back_time);

		break;

	}

}

void UART4_RX_ESP_to_STM32(void) // UART4: esp <-> stm32
{
	HAL_UART_Receive_IT(&huart4, &data, 1);

	printf("%d -- %c \r\n", data, data);
	switch (data) {
	case '0':
		v_t_graph_DIR_GO_X(targetS_X_GO);  //앞으로
		break;

	case '1':
		v_t_graph_DIR_BACK_X(targetS_X_BACK); //뒤로
		break;

	case '2':
		v_t_graph_DIR_GO_Y(targetS_Y_GO);

		break;

	case '3':

		v_t_graph_DIR_BACK_Y(targetS_Y_BACK);
		break;

	case '4':

		z_axis_UP(400 * 6, ball_screw_pulse_cycle);
		break;

	case '5':
		z_axis_DOWN(400 * 6, ball_screw_pulse_cycle);
		break;

	case '6':

		break;

	}

}

/* USER CODE END 4 */

void Error_Handler(void) {
	__disable_irq();
	while (1) {
	}
}
